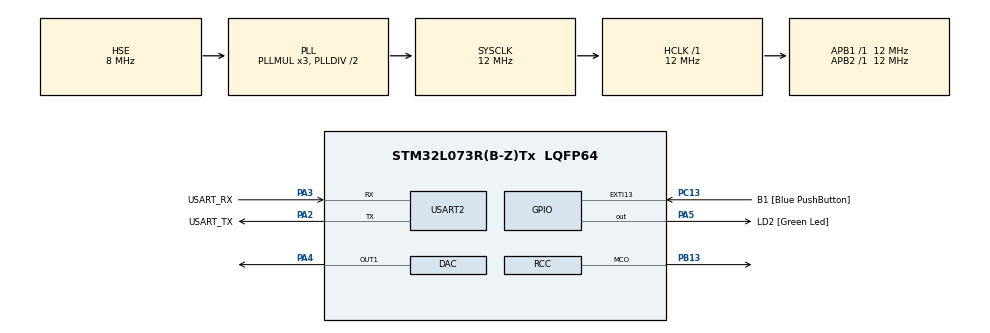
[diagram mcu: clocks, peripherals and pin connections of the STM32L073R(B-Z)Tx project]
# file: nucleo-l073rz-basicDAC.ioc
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DAC.DAC_Trigger=DAC_TRIGGER_T6_TRGO
DAC.TriangleAmplitude=DAC_TRIANGLEAMPLITUDE_4095
DAC.WaveGeneration=TriangleWaveGeneration
Mcu.Family=STM32L0
Mcu.Name=STM32L073R(B-Z)Tx
Mcu.Package=LQFP64
NVIC.EXTI4_15_IRQn=true\:0\:0\:false\:false\:true\:true\:true\:true
PA13.GPIO_Label=TMS
PA13.Mode=Serial_Wire
PA13.Signal=SYS_SWDIO
PA14.GPIO_Label=TCK
PA14.Mode=Serial_Wire
PA14.Signal=SYS_SWCLK
PA2.GPIO_Label=USART_TX
PA2.Mode=Asynchronous
PA2.Signal=USART2_TX
PA3.GPIO_Label=USART_RX
PA3.Mode=Asynchronous
PA3.Signal=USART2_RX
PA4.Signal=COMP_DAC1_group
PA5.GPIO_Label=LD2 [Green Led]
PA5.Signal=GPIO_Output
PB13.Mode=Clock-out
PB13.Signal=RCC_MCO
PC13.GPIO_Label=B1 [Blue PushButton]
PC13.GPIO_ModeDefaultEXTI=GPIO_MODE_IT_RISING
PC13.Signal=GPXTI13
PC14-OSC32_IN.Mode=LSE-External-Oscillator
PC14-OSC32_IN.Signal=RCC_OSC32_IN
PC15-OSC32_OUT.Mode=LSE-External-Oscillator
PC15-OSC32_OUT.Signal=RCC_OSC32_OUT
PH0-OSC_IN.GPIO_Label=MCO
PH0-OSC_IN.Mode=HSE-External-Clock-Source
PH0-OSC_IN.Signal=RCC_OSC_IN
ProjectManager.HeapSize=0x200
ProjectManager.StackSize=0x400
ProjectManager.TargetToolchain=STM32CubeIDE
RCC.AHBFreq_Value=12000000
RCC.APB1Freq_Value=12000000
RCC.APB1TimFreq_Value=12000000
RCC.APB2Freq_Value=12000000
RCC.APB2TimFreq_Value=12000000
RCC.HCLKFreq_Value=12000000
RCC.HSE_VALUE=8000000
RCC.HSI16_VALUE=16000000
RCC.HSI48_VALUE=48000000
RCC.HSI_VALUE=16000000
RCC.MSI_VALUE=2097000
RCC.PLLSourceVirtual=RCC_PLLSOURCE_HSE
RCC.SYSCLKFreq_VALUE=12000000
RCC.SYSCLKSource=RCC_SYSCLKSOURCE_PLLCLK
RCC.VCOOutputFreq_Value=24000000
SH.COMP_DAC1_group.0=DAC_OUT1,DAC_OUT1
TIM6.AutoReloadPreload=TIM_AUTORELOAD_PRELOAD_ENABLE
TIM6.Period=4
TIM6.Prescaler=0
TIM6.TIM_MasterOutputTrigger=TIM_TRGO_UPDATE
USART2.VirtualMode-Asynchronous=VM_ASYNC
VP_TIM6_VS_ClockSourceINT.Mode=Enable_Timer
board=NUCLEO-L073RZ

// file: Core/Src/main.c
/* USER CODE BEGIN Header */
/**
 ******************************************************************************
 * @file           : main.c
 * @brief          : Main program body
 ******************************************************************************
 * @attention
 *
 * Copyright (c) 2024 STMicroelectronics.
 * All rights reserved.
 *
 * This software is licensed under terms that can be found in the LICENSE file
 * in the root directory of this software component.
 * If no LICENSE file comes with this software, it is provided AS-IS.
 *
 ******************************************************************************
 */
/* USER CODE END Header */
#include "main.h"

/* USER CODE BEGIN Includes */
#include <stdio.h>
#include <string.h>
/* USER CODE END Includes */

DAC_HandleTypeDef hdac;

TIM_HandleTypeDef htim6;

UART_HandleTypeDef huart2;

/* USER CODE BEGIN PV */

uint16_t button_counter = 0; // cyclic counter for user button edges

/* USER CODE END PV */

void SystemClock_Config(void);
static void MX_GPIO_Init(void);
static void MX_USART2_UART_Init(void);
static void MX_DAC_Init(void);
static void MX_TIM6_Init(void);

int main(void) {
	/* USER CODE BEGIN 1 */
	uint8_t uart_buf[50];

	/* USER CODE END 1 */

	/* MCU Configuration--------------------------------------------------------*/

	/* Reset of all peripherals, Initializes the Flash interface and the Systick. */
	HAL_Init();

	/* Configure the system clock */
	SystemClock_Config();

	/* Initialize all configured peripherals */
	MX_GPIO_Init();
	MX_USART2_UART_Init();
	MX_DAC_Init();
	MX_TIM6_Init();
	/* USER CODE BEGIN 2 */

	strcpy((char*) uart_buf, "Press USER button to change frequency.\r\n");
	HAL_UART_Transmit(&huart2, uart_buf, strlen((char*) uart_buf),
	HAL_MAX_DELAY);

	HAL_TIM_Base_Start(&htim6);
	HAL_DAC_Start(&hdac, DAC_CHANNEL_1);

	/* USER CODE END 2 */

	/* Infinite loop */
	/* USER CODE BEGIN WHILE */

	uint16_t last_button_counter_printed = 0;
	while (1) {

		// Transmits message through UART
		if (last_button_counter_printed != button_counter) {
			strcpy((char*) uart_buf, "Frequency #");
			char counter_string[1]; // stores the counter as a character
			itoa((int) button_counter, counter_string, 10);
			strcat((char*) uart_buf, counter_string); // concatenates the counter
			strcat((char*) uart_buf, "\r\n"); // concatenates the newline character
			HAL_UART_Transmit(&huart2, uart_buf, strlen((char*) uart_buf),
					HAL_MAX_DELAY);
			last_button_counter_printed = button_counter; // update
		}

		// Toggles LED
		HAL_GPIO_TogglePin(GPIOA, GPIO_PIN_5);

		// Waits
		HAL_Delay(250);

		/* USER CODE END WHILE */

	}
}

void SystemClock_Config(void) {
	RCC_OscInitTypeDef RCC_OscInitStruct = { 0 };
	RCC_ClkInitTypeDef RCC_ClkInitStruct = { 0 };
	RCC_PeriphCLKInitTypeDef PeriphClkInit = { 0 };

	/** Configure the main internal regulator output voltage
	 */
	__HAL_PWR_VOLTAGESCALING_CONFIG(PWR_REGULATOR_VOLTAGE_SCALE1);

	/** Initializes the RCC Oscillators according to the specified parameters
	 * in the RCC_OscInitTypeDef structure.
	 */
	RCC_OscInitStruct.OscillatorType = RCC_OSCILLATORTYPE_HSE;
	RCC_OscInitStruct.HSEState = RCC_HSE_BYPASS;
	RCC_OscInitStruct.PLL.PLLState = RCC_PLL_ON;
	RCC_OscInitStruct.PLL.PLLSource = RCC_PLLSOURCE_HSE;
	RCC_OscInitStruct.PLL.PLLMUL = RCC_PLLMUL_3;
	RCC_OscInitStruct.PLL.PLLDIV = RCC_PLLDIV_2;
	if (HAL_RCC_OscConfig(&RCC_OscInitStruct) != HAL_OK) {
		Error_Handler();
	}

	/** Initializes the CPU, AHB and APB buses clocks
	 */
	RCC_ClkInitStruct.ClockType = RCC_CLOCKTYPE_HCLK | RCC_CLOCKTYPE_SYSCLK
			| RCC_CLOCKTYPE_PCLK1 | RCC_CLOCKTYPE_PCLK2;
	RCC_ClkInitStruct.SYSCLKSource = RCC_SYSCLKSOURCE_PLLCLK;
	RCC_ClkInitStruct.AHBCLKDivider = RCC_SYSCLK_DIV1;
	RCC_ClkInitStruct.APB1CLKDivider = RCC_HCLK_DIV1;
	RCC_ClkInitStruct.APB2CLKDivider = RCC_HCLK_DIV1;

	if (HAL_RCC_ClockConfig(&RCC_ClkInitStruct, FLASH_LATENCY_0) != HAL_OK) {
		Error_Handler();
	}
	PeriphClkInit.PeriphClockSelection = RCC_PERIPHCLK_USART2;
	PeriphClkInit.Usart2ClockSelection = RCC_USART2CLKSOURCE_PCLK1;
	if (HAL_RCCEx_PeriphCLKConfig(&PeriphClkInit) != HAL_OK) {
		Error_Handler();
	}
	HAL_RCC_MCOConfig(RCC_MCO1, RCC_MCO1SOURCE_SYSCLK, RCC_MCODIV_1);
}

static void MX_DAC_Init(void) {

	DAC_ChannelConfTypeDef sConfig = { 0 };

	/** DAC Initialization
	 */
	hdac.Instance = DAC;
	if (HAL_DAC_Init(&hdac) != HAL_OK) {
		Error_Handler();
	}

	/** DAC channel OUT1 config
	 */
	sConfig.DAC_Trigger = DAC_TRIGGER_T6_TRGO;
	sConfig.DAC_OutputBuffer = DAC_OUTPUTBUFFER_ENABLE;
	if (HAL_DAC_ConfigChannel(&hdac, &sConfig, DAC_CHANNEL_1) != HAL_OK) {
		Error_Handler();
	}

	/** Configure Triangle wave generation on DAC OUT1
	 */
	if (HAL_DACEx_TriangleWaveGenerate(&hdac, DAC_CHANNEL_1,
	DAC_TRIANGLEAMPLITUDE_4095) != HAL_OK) {
		Error_Handler();
	}

}

static void MX_TIM6_Init(void) {

	TIM_MasterConfigTypeDef sMasterConfig = { 0 };

	htim6.Instance = TIM6;
	htim6.Init.Prescaler = 0;
	htim6.Init.CounterMode = TIM_COUNTERMODE_UP;
	htim6.Init.Period = 4;
	htim6.Init.AutoReloadPreload = TIM_AUTORELOAD_PRELOAD_ENABLE;
	if (HAL_TIM_Base_Init(&htim6) != HAL_OK) {
		Error_Handler();
	}
	sMasterConfig.MasterOutputTrigger = TIM_TRGO_UPDATE;
	sMasterConfig.MasterSlaveMode = TIM_MASTERSLAVEMODE_DISABLE;
	if (HAL_TIMEx_MasterConfigSynchronization(&htim6, &sMasterConfig)
			!= HAL_OK) {
		Error_Handler();
	}

}

static void MX_USART2_UART_Init(void) {

	huart2.Instance = USART2;
	huart2.Init.BaudRate = 115200;
	huart2.Init.WordLength = UART_WORDLENGTH_8B;
	huart2.Init.StopBits = UART_STOPBITS_1;
	huart2.Init.Parity = UART_PARITY_NONE;
	huart2.Init.Mode = UART_MODE_TX_RX;
	huart2.Init.HwFlowCtl = UART_HWCONTROL_NONE;
	huart2.Init.OverSampling = UART_OVERSAMPLING_16;
	huart2.Init.OneBitSampling = UART_ONE_BIT_SAMPLE_DISABLE;
	huart2.AdvancedInit.AdvFeatureInit = UART_ADVFEATURE_NO_INIT;
	if (HAL_UART_Init(&huart2) != HAL_OK) {
		Error_Handler();
	}

}

static void MX_GPIO_Init(void) {
	GPIO_InitTypeDef GPIO_InitStruct = { 0 };

	/* GPIO Ports Clock Enable */
	__HAL_RCC_GPIOC_CLK_ENABLE();
	__HAL_RCC_GPIOH_CLK_ENABLE();
	__HAL_RCC_GPIOA_CLK_ENABLE();
	__HAL_RCC_GPIOB_CLK_ENABLE();

	/*Configure GPIO pin Output Level */
	HAL_GPIO_WritePin(LD2_GPIO_Port, LD2_Pin, GPIO_PIN_RESET);

	/*Configure GPIO pin : B1_Pin */
	GPIO_InitStruct.Pin = B1_Pin;
	GPIO_InitStruct.Mode = GPIO_MODE_IT_RISING;
	GPIO_InitStruct.Pull = GPIO_NOPULL;
	HAL_GPIO_Init(B1_GPIO_Port, &GPIO_InitStruct);

	/*Configure GPIO pin : LD2_Pin */
	GPIO_InitStruct.Pin = LD2_Pin;
	GPIO_InitStruct.Mode = GPIO_MODE_OUTPUT_PP;
	GPIO_InitStruct.Pull = GPIO_NOPULL;
	GPIO_InitStruct.Speed = GPIO_SPEED_FREQ_LOW;
	HAL_GPIO_Init(LD2_GPIO_Port, &GPIO_InitStruct);

	/*Configure GPIO pin : PB13 */
	GPIO_InitStruct.Pin = GPIO_PIN_13;
	GPIO_InitStruct.Mode = GPIO_MODE_AF_PP;
	GPIO_InitStruct.Pull = GPIO_NOPULL;
	GPIO_InitStruct.Speed = GPIO_SPEED_FREQ_LOW;
	GPIO_InitStruct.Alternate = GPIO_AF2_MCO;
	HAL_GPIO_Init(GPIOB, &GPIO_InitStruct);

	/* EXTI interrupt init*/
	HAL_NVIC_SetPriority(EXTI4_15_IRQn, 0, 0);
	HAL_NVIC_EnableIRQ(EXTI4_15_IRQn);

}

/* USER CODE BEGIN 4 */

// Callbacks
void HAL_GPIO_EXTI_Callback(uint16_t GPIO_Pin) {
	/* Prevent unused argument(s) compilation warning */
	UNUSED(GPIO_Pin);
	if (GPIO_Pin == B1_Pin) {
		button_counter = (button_counter + 1) % 7;
		//__HAL_TIM_SET_PRESCALER(&htim6,button_counter);
		__HAL_TIM_SET_AUTORELOAD(&htim6, button_counter + 1);
	}

}

/* USER CODE END 4 */

void Error_Handler(void) {
	__disable_irq();
	while (1) {
	}
}
